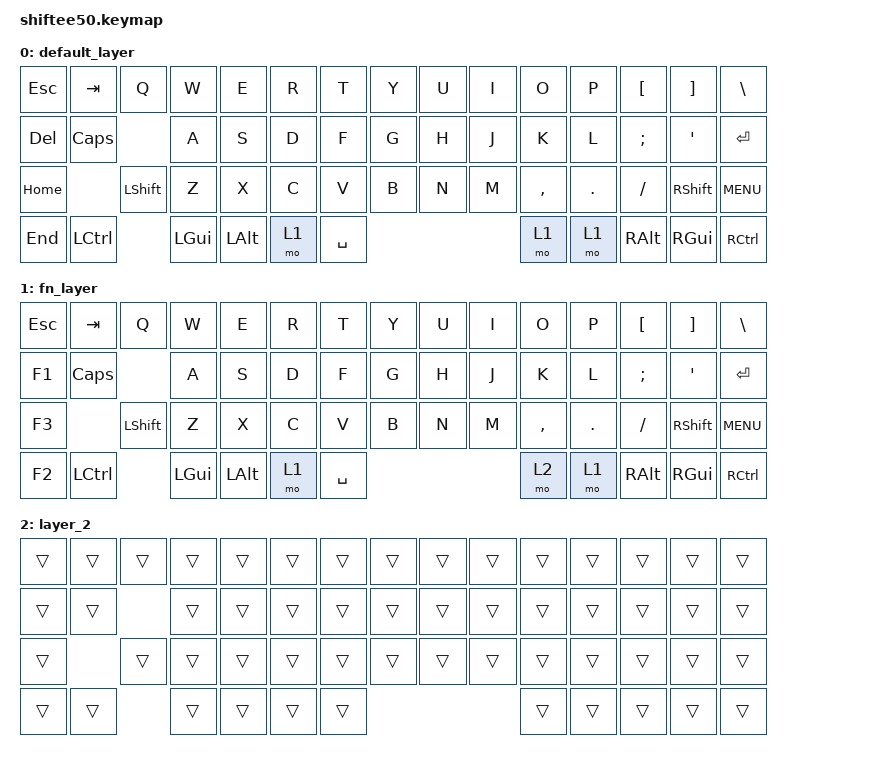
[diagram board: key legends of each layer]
/*
 * Copyright (c) 2020 The ZMK Contributors
 *
 * SPDX-License-Identifier: MIT
 */

#include <behaviors.dtsi>
#include <dt-bindings/zmk/keys.h>

/ {
    keymap0: keymap {
        compatible = "zmk,keymap";

        default_layer {
            // ------------------------------------------------------------------------------------------
            //| ESC | TAB |  Q  |  W  |  E  |  R  |  T  |  Y  |  U  |  I  |  O  |  P  |  [  |  ]  |  \  |
            //| F1  | CAPS  |  A  |  S  |  D  |  F  |  G  |  H  |  J  |  K  |  L  |  ;  |  '  |  ENTER  |
            //| F2  |  SHIFT |  Z  |  X  |  C  |  V  |  B  |  N  |  M  |  ,  |  .  |  /  | SHIFT | MEN  |
            //| F3  |  CTL  | WIN  |  ALT  | MO1 |  SPACE    |  MO2   | MO3 | ALT | MO(1) | WIN  | CTRL |
            // ------------------------------------------------------------------------------------------

            bindings = <
&kp ESC     &kp TAB    &kp Q           &kp W     &kp E         &kp R  &kp T      &kp Y  &kp U  &kp I  &kp O      &kp P    &kp LBKT       &kp RBKT          &kp BSLH
&kp DELETE  &kp CLCK                   &kp A     &kp S         &kp D  &kp F      &kp G  &kp H  &kp J  &kp K      &kp L    &kp SEMICOLON  &kp SINGLE_QUOTE  &kp RET
&kp HOME               &kp LEFT_SHIFT  &kp Z     &kp X         &kp C  &kp V      &kp B  &kp N  &kp M  &kp COMMA  &kp DOT  &kp SLASH      &kp RIGHT_SHIFT   &kp K_MENU
&kp END     &kp LCTRL                  &kp LGUI  &kp LEFT_ALT  &mo 1  &kp SPACE                       &mo 1      &mo 1    &kp RALT       &kp RGUI          &kp RCTRL
            >;
        };

        fn_layer {
            bindings = <
&kp ESC  &kp TAB    &kp Q           &kp W     &kp E     &kp R  &kp T      &kp Y  &kp U  &kp I  &kp O      &kp P    &kp LBKT   &kp RBKT   &kp BSLH
&kp F1   &kp CLCK                   &kp A     &kp S     &kp D  &kp F      &kp G  &kp H  &kp J  &kp K      &kp L    &kp SCLN   &kp QUOT   &kp RET
&kp F3              &kp LEFT_SHIFT  &kp Z     &kp X     &kp C  &kp V      &kp B  &kp N  &kp M  &kp COMMA  &kp DOT  &kp SLASH  &kp RSHFT  &kp K_MENU
&kp F2   &kp LCTRL                  &kp LGUI  &kp LALT  &mo 1  &kp SPACE                       &mo 2      &mo 1    &kp RALT   &kp RGUI   &kp RCTRL
            >;
        };

        layer_2 {
            bindings = <
&trans  &trans  &trans  &trans  &trans  &trans  &trans  &trans  &trans  &trans  &trans  &trans  &trans  &trans  &trans
&trans  &trans          &trans  &trans  &trans  &trans  &trans  &trans  &trans  &trans  &trans  &trans  &trans  &trans
&trans          &trans  &trans  &trans  &trans  &trans  &trans  &trans  &trans  &trans  &trans  &trans  &trans  &trans
&trans  &trans          &trans  &trans  &trans  &trans                          &trans  &trans  &trans  &trans  &trans
            >;
        };
    };
};
